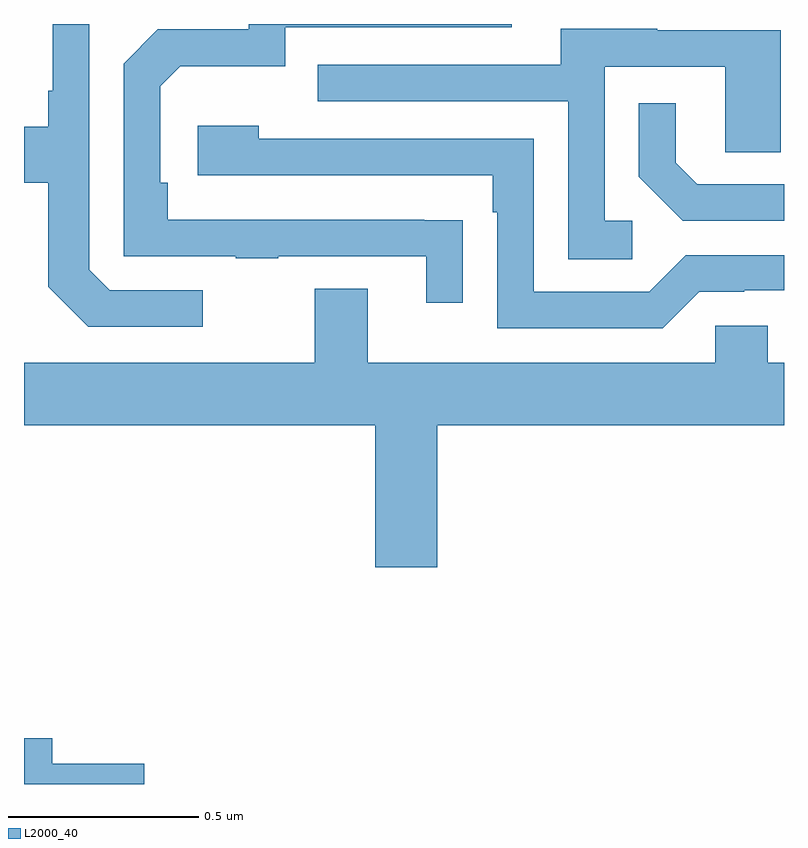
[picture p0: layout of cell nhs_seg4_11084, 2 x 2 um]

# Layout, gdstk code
import gdstk
lib = gdstk.Library(unit=1e-6, precision=1e-09)
def P(c, l, *ps):  # polygons
    for p in ps: c.add(gdstk.Polygon(p, *l))
L2000_40 = (2000, 40)

nhs_seg4_11084 = lib.new_cell('nhs_seg4_11084')
P(nhs_seg4_11084, L2000_40, [(249.155,773.384),(249.053,773.384),(249.053,773.385),(248.378,773.385),(248.378,773.482),(248.358,773.482),(248.358,773.736),(248.411,773.789),(248.688,773.789),(248.688,773.892),(249.283,773.892),(249.283,773.9),(248.592,773.9),(248.592,773.886),(248.352,773.886),(248.262,773.796),(248.262,773.289),(248.557,773.289),(248.557,773.284),(248.669,773.284),(248.669,773.289),(249.059,773.289),(249.059,773.166),(249.155,773.166)],
  [(248.47,773.199),(248.226,773.199),(248.172,773.253),(248.172,773.9),(248.076,773.9),(248.076,773.725),(248.064,773.725),(248.064,773.629),(248,773.629),(248,773.482),(248.064,773.482),(248.064,773.209),(248.169,773.103),(248.47,773.103)],
  [(249.601,773.382),(249.528,773.382),(249.528,773.787),(249.846,773.787),(249.846,773.563),(249.991,773.563),(249.991,773.883),(249.667,773.883),(249.667,773.887),(249.413,773.887),(249.413,773.793),(248.773,773.793),(248.773,773.697),(249.432,773.697),(249.432,773.281),(249.601,773.281)],
  [(250,773.478),(249.772,773.478),(249.715,773.535),(249.715,773.692),(249.618,773.692),(249.618,773.498),(249.734,773.382),(250,773.382)],
  [(249.777,773.196),(249.896,773.196),(249.896,773.199),(250,773.199),(250,773.292),(249.741,773.292),(249.645,773.196),(249.342,773.196),(249.342,773.598),(248.618,773.598),(248.618,773.632),(248.457,773.632),(248.457,773.502),(249.233,773.502),(249.233,773.405),(249.246,773.405),(249.246,773.1),(249.681,773.1)],
  [(249.088,772.844),(250,772.844),(250,773.008),(249.957,773.008),(249.957,773.106),(249.819,773.106),(249.819,773.008),(248.905,773.008),(248.905,773.203),(248.765,773.203),(248.765,773.008),(248,773.008),(248,772.844),(248.924,772.844),(248.924,772.47),(249.088,772.47)],
  [(248.317,771.953),(248.074,771.953),(248.074,772.021),(248,772.021),(248,771.9),(248.317,771.9)])

lib.write_gds('nhs_seg4_11084.gds')
